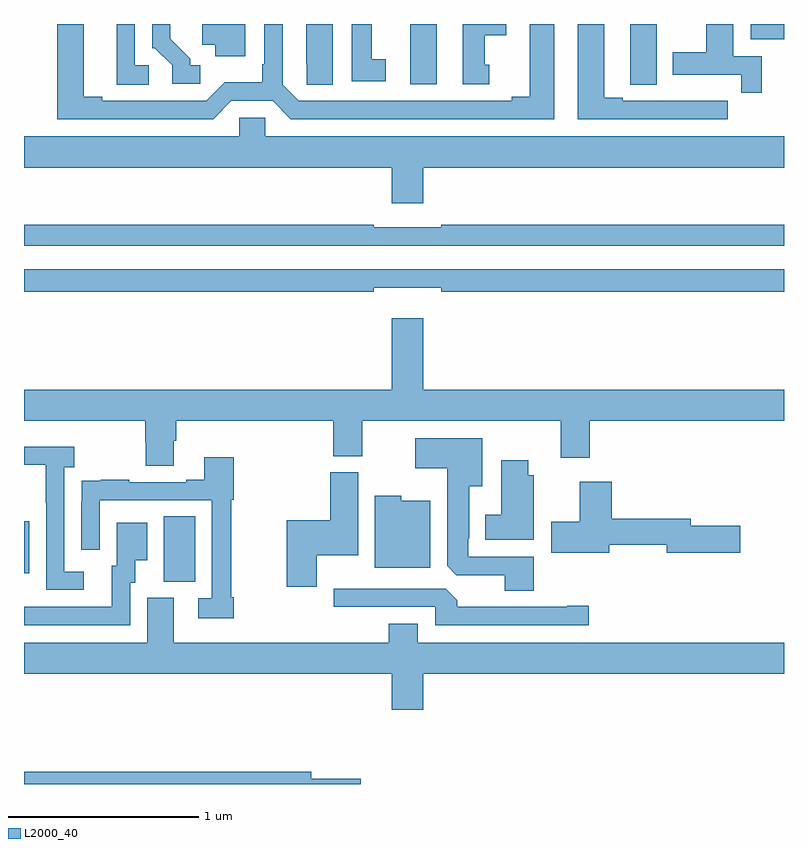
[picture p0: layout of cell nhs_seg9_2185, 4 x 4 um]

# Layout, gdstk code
import gdstk
lib = gdstk.Library(unit=1e-6, precision=1e-09)
def R(c, l, rs):  # rectangles x0, y0, x1, y1
    for r in rs: c.add(gdstk.rectangle(r[:2], r[2:], *l))
def P(c, l, *ps):  # polygons
    for p in ps: c.add(gdstk.Polygon(p, *l))
L2000_40 = (2000, 40)

nhs_seg9_2185 = lib.new_cell('nhs_seg9_2185')
R(nhs_seg9_2185, L2000_40, [(235.736,1203.565,235.9,1203.908), (235,1203.609,235.027,1203.883), (237.032,1206.183,237.172,1206.5), (238.826,1206.419,239,1206.5)])
P(nhs_seg9_2185, L2000_40, [(235.657,1206.282),(235.584,1206.282),(235.584,1206.5),(235.487,1206.5),(235.487,1206.181),(235.657,1206.181)],
  [(238.705,1206.096),(238.592,1206.096),(238.592,1206.097),(238.426,1206.097),(238.426,1206.096),(238.15,1206.096),(238.15,1206.111),(238.054,1206.111),(238.054,1206.5),(237.914,1206.5),(237.914,1206),(238.705,1206)],
  [(237.448,1206.285),(237.424,1206.285),(237.424,1206.44),(237.538,1206.44),(237.538,1206.5),(237.308,1206.5),(237.308,1206.183),(237.448,1206.183)],
  [(236.626,1206.5),(236.486,1206.5),(236.486,1206.289),(236.487,1206.289),(236.487,1206.181),(236.626,1206.181)],
  [(236.091,1206.096),(236.309,1206.096),(236.405,1206),(237.79,1206),(237.79,1206.5),(237.662,1206.5),(237.662,1206.116),(237.566,1206.116),(237.566,1206.096),(236.445,1206.096),(236.361,1206.18),(236.361,1206.5),(236.265,1206.5),(236.265,1206.289),(236.253,1206.289),(236.253,1206.193),(236.056,1206.193),(235.959,1206.096),(235.411,1206.096),(235.411,1206.116),(235.315,1206.116),(235.315,1206.5),(235.175,1206.5),(235.175,1206),(235.995,1206)],
  [(235.927,1206.282),(235.876,1206.282),(235.876,1206.317),(235.771,1206.422),(235.771,1206.5),(235.674,1206.5),(235.674,1206.372),(235.689,1206.372),(235.779,1206.282),(235.779,1206.186),(235.927,1206.186)],
  [(236.905,1206.314),(236.83,1206.314),(236.83,1206.5),(236.726,1206.5),(236.726,1206.198),(236.905,1206.198)],
  [(238.883,1206.33),(238.732,1206.33),(238.732,1206.5),(238.592,1206.5),(238.592,1206.351),(238.415,1206.351),(238.415,1206.234),(238.774,1206.234),(238.774,1206.138),(238.883,1206.138)],
  [(236.164,1206.5),(235.937,1206.5),(235.937,1206.392),(236.006,1206.392),(236.006,1206.33),(236.164,1206.33)],
  [(238.33,1206.5),(238.19,1206.5),(238.19,1206.289),(238.191,1206.289),(238.191,1206.181),(238.33,1206.181)],
  [(237.1,1205.744),(239,1205.744),(239,1205.908),(236.271,1205.908),(236.271,1206.006),(236.133,1206.006),(236.133,1205.908),(235,1205.908),(235,1205.744),(236.936,1205.744),(236.936,1205.556),(237.1,1205.556)],
  [(239,1205.443),(237.196,1205.443),(237.196,1205.43),(236.84,1205.43),(236.84,1205.443),(235,1205.443),(235,1205.334),(239,1205.334)],
  [(236.84,1205.111),(237.196,1205.111),(237.196,1205.092),(239,1205.092),(239,1205.208),(235,1205.208),(235,1205.092),(236.84,1205.092)],
  [(235.789,1204.306),(235.802,1204.306),(235.802,1204.412),(236.627,1204.412),(236.627,1204.225),(236.779,1204.225),(236.779,1204.412),(237.824,1204.412),(237.824,1204.218),(237.977,1204.218),(237.977,1204.412),(239,1204.412),(239,1204.576),(237.1,1204.576),(237.1,1204.951),(236.936,1204.951),(236.936,1204.576),(235,1204.576),(235,1204.412),(235.637,1204.412),(235.637,1204.299),(235.642,1204.299),(235.642,1204.174),(235.789,1204.174)],
  [(237.683,1203.696),(237.339,1203.696),(237.339,1203.793),(237.343,1203.793),(237.343,1204.067),(237.412,1204.067),(237.412,1204.321),(237.06,1204.321),(237.06,1204.163),(237.227,1204.163),(237.227,1203.649),(237.276,1203.6),(237.53,1203.6),(237.53,1203.517),(237.683,1203.517)],
  [(235.315,1203.618),(235.212,1203.618),(235.212,1204.166),(235.264,1204.166),(235.264,1204.276),(235,1204.276),(235,1204.179),(235.115,1204.179),(235.115,1203.979),(235.116,1203.979),(235.116,1203.522),(235.315,1203.522)],
  [(236.105,1203.484),(236.09,1203.484),(236.09,1203.996),(236.105,1203.996),(236.105,1204.219),(235.949,1204.219),(235.949,1204.102),(235.853,1204.102),(235.853,1204.089),(235.553,1204.089),(235.553,1204.102),(235.405,1204.102),(235.405,1204.095),(235.303,1204.095),(235.303,1203.986),(235.302,1203.986),(235.302,1203.732),(235.398,1203.732),(235.398,1203.993),(235.989,1203.993),(235.989,1203.477),(235.917,1203.477),(235.917,1203.372),(236.105,1203.372)],
  [(237.682,1204.125),(237.655,1204.125),(237.655,1204.204),(237.512,1204.204),(237.512,1203.916),(237.428,1203.916),(237.428,1203.785),(237.682,1203.785)],
  [(236.542,1203.704),(236.758,1203.704),(236.758,1204.14),(236.612,1204.14),(236.612,1203.889),(236.384,1203.889),(236.384,1203.537),(236.542,1203.537)],
  [(238.081,1203.76),(238.382,1203.76),(238.382,1203.718),(238.771,1203.718),(238.771,1203.86),(238.51,1203.86),(238.51,1203.896),(238.094,1203.896),(238.094,1204.09),(237.926,1204.09),(237.926,1203.879),(237.774,1203.879),(237.774,1203.716),(238.081,1203.716)],
  [(237.139,1203.991),(236.985,1203.991),(236.985,1204.018),(236.846,1204.018),(236.846,1203.638),(237.139,1203.638)],
  [(235.56,1203.558),(235.585,1203.558),(235.585,1203.677),(235.648,1203.677),(235.648,1203.874),(235.487,1203.874),(235.487,1203.648),(235.463,1203.648),(235.463,1203.432),(235,1203.432),(235,1203.336),(235.56,1203.336)],
  [(237.973,1203.437),(237.86,1203.437),(237.86,1203.432),(237.281,1203.432),(237.281,1203.466),(237.219,1203.528),(236.631,1203.528),(236.631,1203.432),(237.165,1203.432),(237.165,1203.336),(237.973,1203.336)],
  [(237.1,1203.08),(239,1203.08),(239,1203.244),(237.073,1203.244),(237.073,1203.343),(236.921,1203.343),(236.921,1203.244),(235.789,1203.244),(235.789,1203.48),(235.649,1203.48),(235.649,1203.244),(235,1203.244),(235,1203.08),(236.936,1203.08),(236.936,1202.892),(237.1,1202.892)],
  [(236.773,1202.528),(236.512,1202.528),(236.512,1202.564),(235,1202.564),(235,1202.5),(236.773,1202.5)])

lib.write_gds('nhs_seg9_2185.gds')
